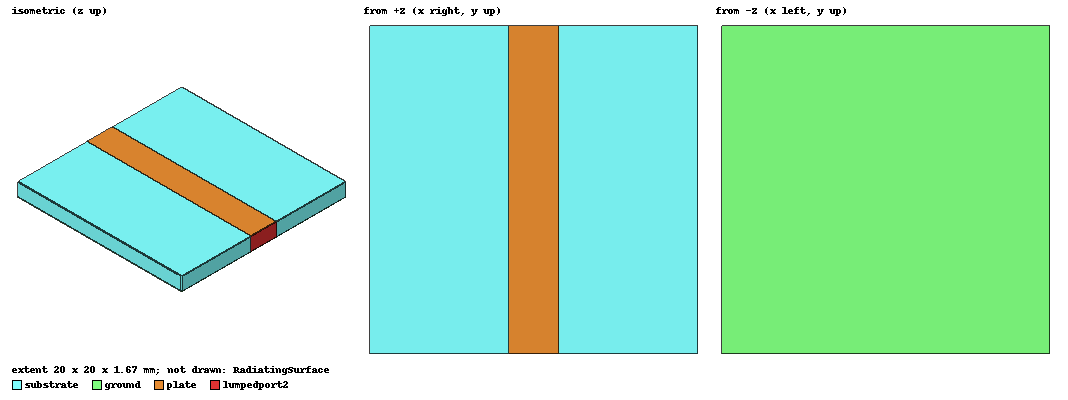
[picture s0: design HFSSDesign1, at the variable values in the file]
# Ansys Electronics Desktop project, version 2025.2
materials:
  vacuum: permittivity=1
  FR4_epoxy: permittivity=4.4 dielectric_loss_tangent=0.02
  copper: permeability=0.999991 conductivity=58000000

design HFSSDesign1 (HFSS, HFSS Modal Network, model units mm)
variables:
  xl = 20mm
  yl = 20mm
  h = 1.6mm
  t = 0.035mm
  w = 3.06mm
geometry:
  substrate [FR4_epoxy] = box(corner=(-xl/2, 0mm, 0mm), size=(xl, yl, -h))
  ground [copper] = box(corner=(-xl/2, 0mm, -h), size=(xl, yl, -t))
  plate [copper] = box(corner=(-w/2, 0mm, 0mm), size=(w, yl, t))
  lumpedport1 = rectangle(corner=(-w/2, 0mm, -h), z_size=h+t, x_size=w)
  lumpedport2 = rectangle(corner=(-w/2, xl, -h), z_size=h+t, x_size=w)
  RadiatingSurface [vacuum] = region(absolute_offset=33.333333mm on all sides)
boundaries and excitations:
  Open1: Radiation Objects=RadiatingSurface
  1: Lumped Port Objects=lumpedport1 LumpedPortType=Modal Modes{Mode1{IntLine{(0, 0, -1.6) -> (0, 0, 0.035)} CharImp=Zpi RenormImp=50ohm}} Impedance=50ohm
  2: Lumped Port Objects=lumpedport2 LumpedPortType=Modal Modes{Mode1{IntLine{(0, 20, -1.6) -> (0, 20, 0)} CharImp=Zpi RenormImp=50ohm}} Impedance=50ohm
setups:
  Setup1: HfssDriven Frequency=3GHz MaxDeltaS=0.02 MaximumPasses=6 MinimumPasses=1 MinimumConvergedPasses=1 PercentRefinement=30 BasisOrder=1 PortAccuracy=2 DrivenSolverType="Direct Solver"
    sweep Sweep: 1.5GHz to 6GHz, 401 points; Type=Interpolating InterpTolerance=0.5 InterpMaxSolns=250 InterpUsePortImped=false PassivityErrorTolerance=0.0001
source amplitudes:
  1:1: 1W 0deg
  2:1: 0W 0deg
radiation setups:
  3D: Infinite Sphere Theta=0deg..180deg step 2deg Phi=-180deg..180deg step 2deg
  Elevation: Infinite Sphere Theta=-180deg..180deg step 1deg Phi=0deg..90deg step 90deg
  Azimuth: Infinite Sphere Theta=90deg..90deg step 0deg Phi=-180deg..180deg step 1deg
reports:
  S Parameter Plot1: dB(S(1,1)), dB(S(2,1)) vs Freq on Setup1 : Sweep; markers MX1 at x=3.0029703e+09
